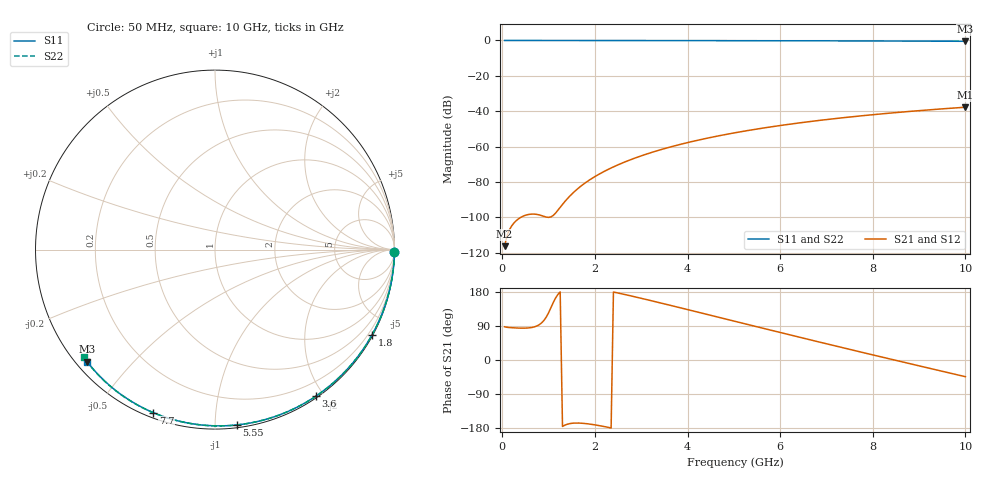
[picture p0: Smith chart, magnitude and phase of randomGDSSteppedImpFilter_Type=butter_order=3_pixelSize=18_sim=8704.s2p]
! freq	dB(S11)	phase(S11)	dB(S12)	phase(S12)
!  dB(S21)	phase(S21)	dB(S22)	phase(S22)
!S-par simulation data
#  GHz  S  DB  R 50
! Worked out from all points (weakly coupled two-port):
!   200 points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, 50 MHz to 10 GHz, reference 50 ohm
!   highest |S21| = -37.77 dB at 10 GHz (marker M1); lowest = -116.4 dB at 50 MHz (marker M2)
!   lowest |S11| = -0.5 dB at 10 GHz (marker M3), VSWR 36.90, Z = 1.55 - j18.8 ohm
!   |S11| at or under -10 dB: nowhere
!   |S22| runs from -0.5 to 0.0 dB; largest |S21 - S12| = 0
!   S11 on the Smith chart (normalised r, x): 50 MHz: open; 1.8 GHz: 0.03, -3.94; 3.6 GHz: 0.02, -1.90; 5.55 GHz: 0.02, -1.13; 7.7 GHz: 0.02, -0.69; 10 GHz: 0.03, -0.38
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0.05  -0.00 -0.8  -116.37 87.7  -116.37 87.7  -0.00 -0.8
0.45  -0.01 -7.2  -99.39 84.0  -99.39 84.0  -0.01 -7.3
0.9  -0.02 -14.4  -99.53 104.6  -99.53 104.6  -0.02 -14.6
1.75  -0.04 -27.7  -81.36 -167.2  -81.36 -167.2  -0.04 -28.0
1.8  -0.04 -28.4  -80.41 -167.8  -80.41 -167.8  -0.04 -28.8
1.85  -0.04 -29.2  -79.50 -168.5  -79.50 -168.5  -0.04 -29.6
2.05  -0.04 -32.3  -76.23 -172.2  -76.23 -172.2  -0.04 -32.7
2.2  -0.04 -34.6  -74.09 -175.6  -74.09 -175.6  -0.04 -35.1
2.55  -0.05 -39.9  -69.77 175.5  -69.77 175.5  -0.05 -40.5
2.95  -0.06 -46.0  -65.73 164.3  -65.73 164.3  -0.06 -46.6
3.4  -0.07 -52.6  -61.95 151.1  -61.95 151.1  -0.07 -53.3
3.6  -0.07 -55.6  -60.46 145.1  -60.46 145.1  -0.08 -56.3
3.9  -0.08 -59.9  -58.42 136.1  -58.42 136.1  -0.08 -60.7
4.3  -0.09 -65.6  -55.98 124.0  -55.98 124.0  -0.09 -66.5
5.05  -0.12 -76.1  -52.10 101.3  -52.10 101.3  -0.12 -77.1
5.55  -0.14 -82.9  -49.89 86.2  -49.89 86.2  -0.14 -83.9
6.1  -0.16 -90.2  -47.75 69.6  -47.75 69.6  -0.16 -91.4
6.7  -0.19 -98.0  -45.69 51.7  -45.69 51.7  -0.19 -99.3
7.7  -0.25 -110.7  -42.77 22.2  -42.77 22.2  -0.26 -112.1
8.35  -0.30 -118.7  -41.15 3.3  -41.15 3.3  -0.31 -120.2
9.2  -0.38 -129.1  -39.29 -21.2  -39.29 -21.2  -0.39 -130.7
10  -0.47 -138.7  -37.77 -44.1  -37.77 -44.1  -0.48 -140.6
